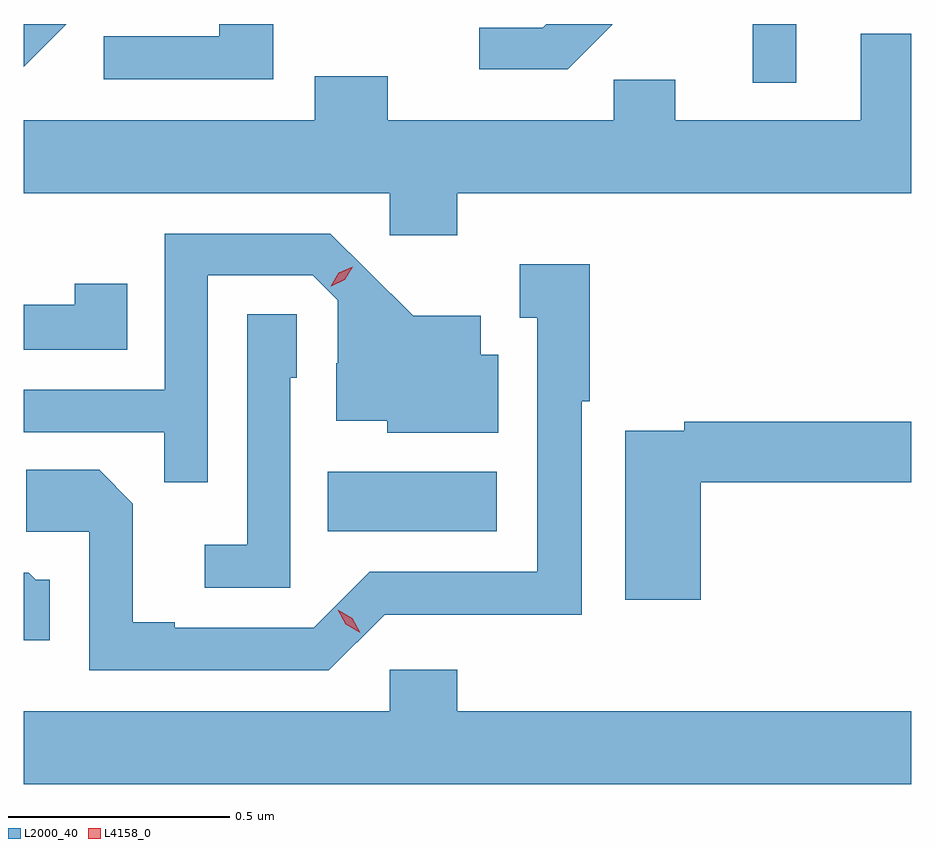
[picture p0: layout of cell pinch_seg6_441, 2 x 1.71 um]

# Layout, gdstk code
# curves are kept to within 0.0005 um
import gdstk
lib = gdstk.Library(unit=1e-6, precision=1e-09)
def R(c, l, rs):  # rectangles x0, y0, x1, y1
    for r in rs: c.add(gdstk.rectangle(r[:2], r[2:], *l))
def P(c, l, *ps):  # polygons
    for p in ps: c.add(gdstk.Polygon(p, *l))
L2000_40 = (2000, 40)
L4158_0 = (4158, 0)

pinch_seg6_441 = lib.new_cell('pinch_seg6_441')
R(pinch_seg6_441, L2000_40, [(707.686,931.922,708.067,932.056), (708.644,932.933,708.742,933.065)])
P(pinch_seg6_441, L2000_40, [(707.097,933.065),(707.001,933.065),(707.001,932.969)],
  [(708.327,933.063),(708.327,933.065),(708.179,933.065),(708.171,933.057),(708.027,933.057),(708.027,932.963),(708.227,932.963)],
  [(707.563,933.065),(707.442,933.065),(707.442,933.037),(707.181,933.037),(707.181,932.94),(707.563,932.94)],
  [(707.978,932.684),(709.001,932.684),(709.001,933.043),(708.887,933.043),(708.887,932.848),(708.469,932.848),(708.469,932.939),(708.331,932.939),(708.331,932.848),(707.821,932.848),(707.821,932.947),(707.657,932.947),(707.657,932.848),(707.001,932.848),(707.001,932.684),(707.826,932.684),(707.826,932.589),(707.978,932.589)],
  [(707.415,932.499),(707.652,932.499),(707.709,932.442),(707.709,932.3),(707.705,932.3),(707.705,932.171),(707.82,932.171),(707.82,932.144),(708.07,932.144),(708.07,932.32),(708.031,932.32),(708.031,932.407),(707.879,932.407),(707.692,932.592),(707.319,932.592),(707.319,932.241),(707.001,932.241),(707.001,932.145),(707.317,932.145),(707.317,932.032),(707.415,932.032)],
  [(707.814,931.734),(708.036,931.734),(708.036,931.733),(708.259,931.733),(708.259,932.215),(708.277,932.215),(708.277,932.524),(708.119,932.524),(708.119,932.403),(708.158,932.403),(708.158,931.83),(707.781,931.83),(707.655,931.704),(707.341,931.704),(707.341,931.717),(707.247,931.717),(707.247,931.984),(707.171,932.06),(707.007,932.06),(707.007,931.92),(707.148,931.92),(707.148,931.608),(707.688,931.608)],
  [(707.234,932.479),(707.116,932.479),(707.116,932.432),(707.001,932.432),(707.001,932.331),(707.234,932.331)],
  [(707.601,932.268),(707.616,932.268),(707.616,932.411),(707.505,932.411),(707.505,931.891),(707.409,931.891),(707.409,931.794),(707.601,931.794)],
  [(708.527,932.032),(709.001,932.032),(709.001,932.168),(708.49,932.168),(708.49,932.148),(708.356,932.148),(708.356,931.767),(708.527,931.767)],
  [(707.059,931.812),(707.028,931.812),(707.012,931.828),(707.001,931.828),(707.001,931.676),(707.059,931.676)],
  [(709.001,931.516),(707.978,931.516),(707.978,931.609),(707.826,931.609),(707.826,931.516),(707.001,931.516),(707.001,931.352),(709.001,931.352)])
P(pinch_seg6_441, L4158_0, [(707.759,931.693),(707.727,931.712),(707.709,931.745),(707.709,931.745),(707.709,931.745),(707.741,931.726),(707.759,931.693),(707.759,931.693)],
  [(707.693,932.474),(707.693,932.474),(707.711,932.504),(707.742,932.518),(707.742,932.518),(707.742,932.518),(707.724,932.489),(707.694,932.474)])

lib.write_gds('pinch_seg6_441.gds')
